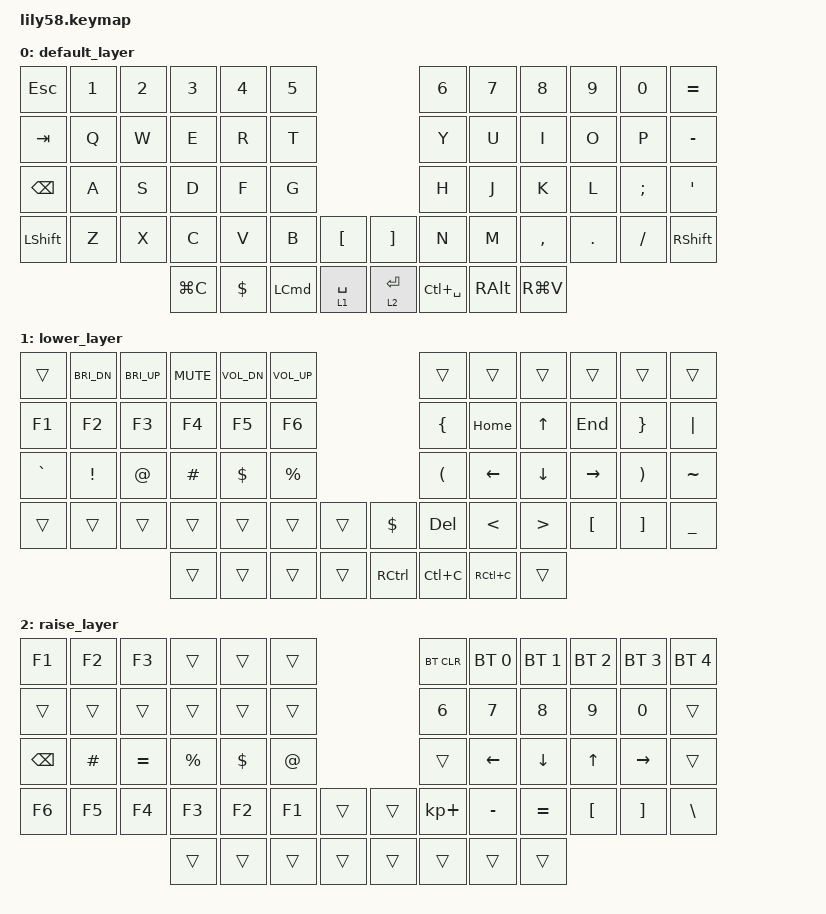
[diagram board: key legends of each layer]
/*
 * Copyright (c) 2020 The ZMK Contributors
 *
 * SPDX-License-Identifier: MIT
 */

#include <behaviors.dtsi>
#include <dt-bindings/zmk/bt.h>
#include <dt-bindings/zmk/keys.h>

/ {
    behaviors {
        new_behavior: new_behavior {
            compatible = "zmk,behavior-hold-tap";
            label = "NEW_BEHAVIOR";
            bindings = <&kp>, <&kp>;

            #binding-cells = <2>;
            tapping-term-ms = <20>;
            hold-trigger-key-positions = <53>;
        };
    };

    keymap {
        compatible = "zmk,keymap";

        default_layer {
            // ------------------------------------------------------------------------------------------------------------
            // |  ESC  |  1  |  2  |  3   |  4   |  5   |                   |  6   |  7    |  8    |  9   |   0   |   `   |
            // |  TAB  |  Q  |  W  |  E   |  R   |  T   |                   |  Y   |  U    |  I    |  O   |   P   |   -   |
            // |  CTRL |  A  |  S  |  D   |  F   |  G   |                   |  H   |  J    |  K    |  L   |   ;   |   '   |
            // | SHIFT |  Z  |  X  |  C   |  V   |  B   |   "["  |  |  "]"  |  N   |  M    |  ,    |  .   |   /   | SHIFT |
            //                     | ALT  | GUI  | LOWER|  SPACE |  | ENTER | RAISE| BSPC  | GUI   |

            bindings = <
&kp ESC        &kp N1  &kp N2  &kp N3     &kp N4      &kp N5                                        &kp N6         &kp N7         &kp N8     &kp N9   &kp N0    &kp EQUAL
&kp TAB        &kp Q   &kp W   &kp E      &kp R       &kp T                                         &kp Y          &kp U          &kp I      &kp O    &kp P     &kp MINUS
&kp BACKSPACE  &kp A   &kp S   &kp D      &kp F       &kp G                                         &kp H          &kp J          &kp K      &kp L    &kp SEMI  &kp SQT
&kp LSHFT      &kp Z   &kp X   &kp C      &kp V       &kp B             &kp LBKT       &kp RBKT     &kp N          &kp M          &kp COMMA  &kp DOT  &kp FSLH  &kp RSHFT
                               &kp LG(C)  &kp DOLLAR  &kp LEFT_COMMAND  &lt 1 SPACE    &lt 2 ENTER  &kp LC(SPACE)  &kp RIGHT_ALT  &kp RG(V)
            >;
        };

        lower_layer {
            // --------------------------------------------------------------------------------------------------------------
            // | LPAD  | BRDn | BRUp |  MUT |  Vo- |  Vo+ |                   |      |       |       |      |       |       |
            // |  F1   |  F2  |  F3  |  F4  |  F5  |  F6  |                   |  F7  |  F8   |  F9   |  F10 |  F11  |  F12  |
            // |   `   |  !   |  @   |  #   |  $   |  %   |                   |  ^   |  &    |  *    |  (   |   )   |   ~   |
            // |       |      |      |      |      |      |        |  |       |      |  _    |  +    |  {   |   }   |  "|"  |
            //                       |      |      |      |        |  |       |      |       |       |

            bindings = <
&trans     &kp C_BRI_DN  &kp C_BRI_UP  &kp C_MUTE  &kp C_VOL_DN  &kp C_VOL_UP                        &trans                &trans          &trans            &trans            &trans             &trans
&kp F1     &kp F2        &kp F3        &kp F4      &kp F5        &kp F6                              &kp LEFT_BRACE        &kp HOME        &kp UP_ARROW      &kp END           &kp RIGHT_BRACE    &kp PIPE
&kp GRAVE  &kp EXCL      &kp AT        &kp HASH    &kp DOLLAR    &kp PRCNT                           &kp LEFT_PARENTHESIS  &kp LEFT_ARROW  &kp DOWN          &kp RIGHT         &kp RPAR           &kp TILDE
&trans     &trans        &trans        &trans      &trans        &trans        &trans    &kp DOLLAR  &kp DEL               &kp LESS_THAN   &kp GREATER_THAN  &kp LEFT_BRACKET  &kp RIGHT_BRACKET  &kp UNDERSCORE
                                       &trans      &trans        &trans        &trans    &kp RCTRL   &kp LC(C)             &kp RC(C)       &trans
            >;
        };

        raise_layer {
            // ------------------------------------------------------------------------------------------------------------
            // |       |     |     |      |      |      |                   |      |       |       |      |       |       |
            // |   `   |  1  |  2  |  3   |  4   |  5   |                   |  6   |   7   |   8   |  9   |   0   |       |
            // |   F1  |  F2 |  F3 |  F4  |  F5  |  F6  |                   |      |   <-  |   v   |  ^   |  ->   |       |
            // |   F7  |  F8 |  F9 |  F10 |  F11 |  F12 |        |  |       |  +   |   -   |   =   |  [   |   ]   |   \   |
            //                     |      |      |      |        |  |       |      |       |       |

            bindings = <
&kp F1         &kp F2    &kp F3     &trans       &trans      &trans                         &bt BT_CLR   &bt BT_SEL 0  &bt BT_SEL 1  &bt BT_SEL 2  &bt BT_SEL 3  &bt BT_SEL 4
&trans         &trans    &trans     &trans       &trans      &trans                         &kp N6       &kp N7        &kp N8        &kp N9        &kp N0        &trans
&kp BACKSPACE  &kp HASH  &kp EQUAL  &kp PERCENT  &kp DOLLAR  &kp AT_SIGN                    &trans       &kp LEFT      &kp DOWN      &kp UP        &kp RIGHT     &trans
&kp F6         &kp F5    &kp F4     &kp F3       &kp F2      &kp F1       &trans    &trans  &kp KP_PLUS  &kp MINUS     &kp EQUAL     &kp LBKT      &kp RBKT      &kp BSLH
                                    &trans       &trans      &trans       &trans    &trans  &trans       &trans        &trans
            >;
        };
    };
};
